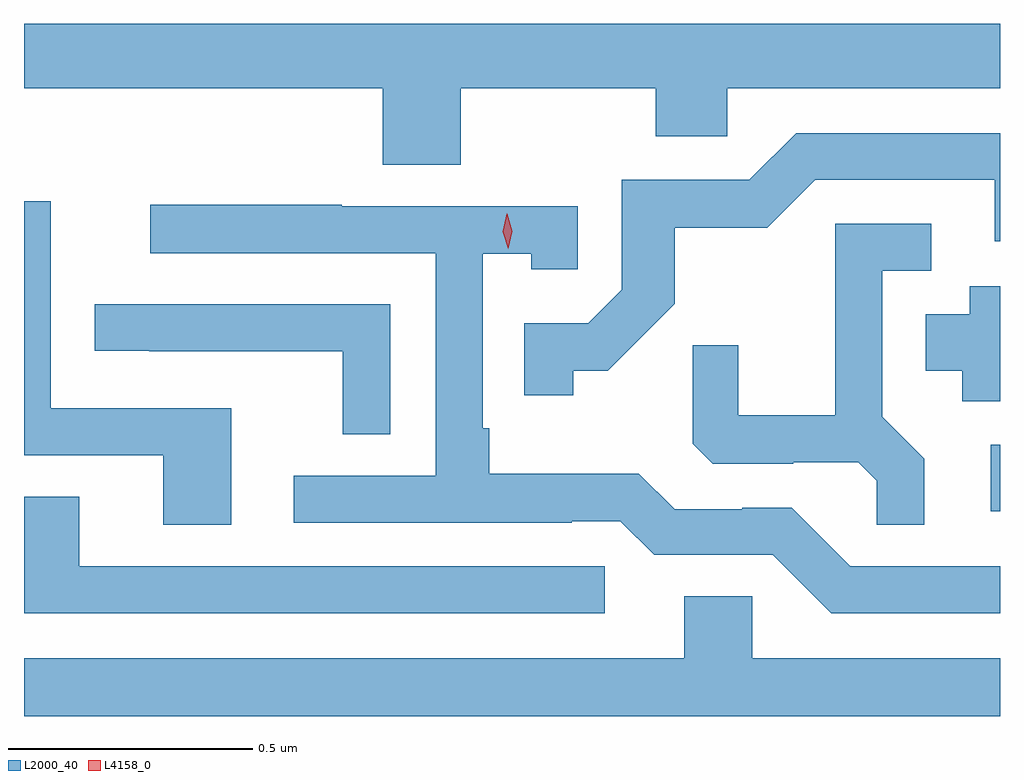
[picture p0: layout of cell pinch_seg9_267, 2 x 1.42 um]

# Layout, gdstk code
import gdstk
lib = gdstk.Library(unit=1e-6, precision=1e-09)
def R(c, l, rs):  # rectangles x0, y0, x1, y1
    for r in rs: c.add(gdstk.rectangle(r[:2], r[2:], *l))
def P(c, l, *ps):  # polygons
    for p in ps: c.add(gdstk.Polygon(p, *l))
L2000_40 = (2000, 40)
L4158_0 = (4158, 0)

pinch_seg9_267 = lib.new_cell('pinch_seg9_267')
R(pinch_seg9_267, L2000_40, [(513.255,1247.501,513.274,1247.637)])
P(pinch_seg9_267, L2000_40, [(512.169,1248.368),(512.569,1248.368),(512.569,1248.27),(512.715,1248.27),(512.715,1248.368),(513.274,1248.368),(513.274,1248.5),(511.274,1248.5),(511.274,1248.368),(512.009,1248.368),(512.009,1248.211),(512.169,1248.211)],
  [(512.4,1247.789),(512.47,1247.789),(512.608,1247.926),(512.608,1248.082),(512.797,1248.082),(512.895,1248.18),(513.263,1248.18),(513.263,1248.054),(513.274,1248.054),(513.274,1248.276),(512.856,1248.276),(512.76,1248.18),(512.499,1248.18),(512.499,1247.955),(512.43,1247.886),(512.299,1247.886),(512.299,1247.739),(512.4,1247.739)],
  [(511.699,1247.712),(511.329,1247.712),(511.329,1248.136),(511.274,1248.136),(511.274,1247.616),(511.559,1247.616),(511.559,1247.473),(511.699,1247.473)],
  [(513.274,1247.388),(512.967,1247.388),(512.847,1247.508),(512.746,1247.508),(512.746,1247.505),(512.607,1247.505),(512.534,1247.578),(512.227,1247.578),(512.227,1247.671),(512.214,1247.671),(512.214,1248.029),(512.313,1248.029),(512.313,1247.997),(512.409,1247.997),(512.409,1248.126),(511.925,1248.126),(511.925,1248.129),(511.533,1248.129),(511.533,1248.03),(512.118,1248.03),(512.118,1247.574),(511.827,1247.574),(511.827,1247.478),(512.396,1247.478),(512.396,1247.481),(512.496,1247.481),(512.565,1247.412),(512.808,1247.412),(512.928,1247.292),(513.274,1247.292)],
  [(513.119,1247.609),(513.033,1247.695),(513.033,1247.994),(513.133,1247.994),(513.133,1248.09),(512.936,1248.09),(512.936,1247.698),(512.738,1247.698),(512.738,1247.841),(512.644,1247.841),(512.644,1247.639),(512.685,1247.598),(512.85,1247.598),(512.85,1247.601),(512.984,1247.601),(513.021,1247.564),(513.021,1247.473),(513.119,1247.473)],
  [(513.274,1247.962),(513.212,1247.962),(513.212,1247.905),(513.122,1247.905),(513.122,1247.789),(513.197,1247.789),(513.197,1247.726),(513.274,1247.726)],
  [(512.025,1247.925),(511.419,1247.925),(511.419,1247.83),(511.531,1247.83),(511.531,1247.829),(511.927,1247.829),(511.927,1247.659),(512.025,1247.659)],
  [(512.464,1247.388),(511.387,1247.388),(511.387,1247.531),(511.274,1247.531),(511.274,1247.292),(512.464,1247.292)],
  [(513.274,1247.2),(512.766,1247.2),(512.766,1247.327),(512.627,1247.327),(512.627,1247.2),(511.274,1247.2),(511.274,1247.081),(513.274,1247.081)])
P(pinch_seg9_267, L4158_0, [(512.266,1248.039),(512.266,1248.039),(512.255,1248.074),(512.263,1248.111),(512.264,1248.111),(512.264,1248.111),(512.275,1248.075),(512.266,1248.039)])

lib.write_gds('pinch_seg9_267.gds')
